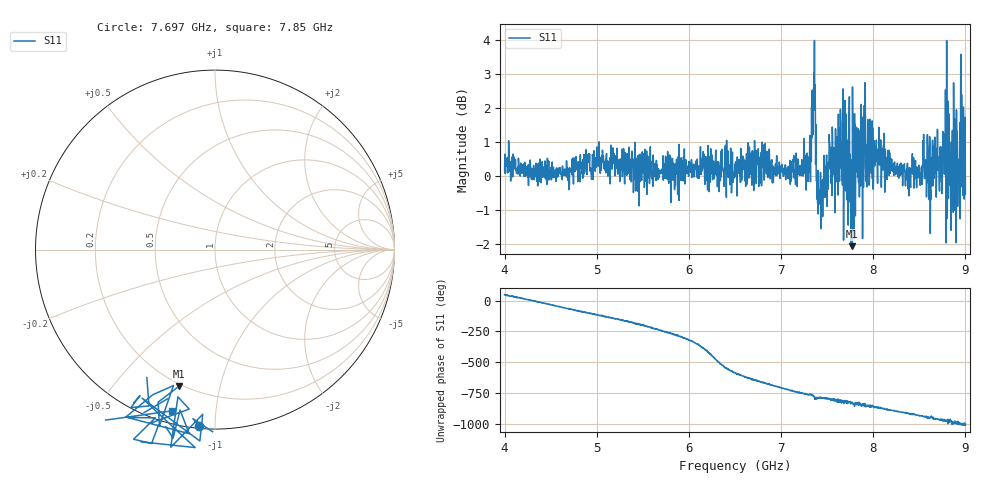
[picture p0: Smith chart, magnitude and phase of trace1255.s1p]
! Created with skrf 1.8.0 (http://scikit-rf.org).
# Hz S RI R 50.0
!freq ReS11 ImS11
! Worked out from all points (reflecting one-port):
!   1601 points, 4 GHz to 9 GHz, reference 50 ohm
!   lowest |S11| = -2.1 dB at 7.772 GHz (marker M1), VSWR 8.41, Z = 9.4 - j37.7 ohm
!   phase of S11 starts at 49 deg and turns -1053 deg over the sweep
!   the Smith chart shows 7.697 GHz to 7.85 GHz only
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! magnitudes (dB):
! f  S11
! 4 GHz  0.2
! 4.625 GHz  -0.1
! 5.25 GHz  -0.2
! 5.875 GHz  0.4
! 6.5 GHz  0.0
! 7.125 GHz  0.3
! 7.294 GHz  -0.2
! 7.347 GHz  1.2
! 7.375 GHz  0.3
! 7.4 GHz  0.2
! 7.428 GHz  0.1
! 7.538 GHz  0.6
! 7.591 GHz  1.4
! 7.647 GHz  1.7
! 7.75 GHz  -0.8
! 7.772 GHz  -2.1
! 7.822 GHz  0.2
! 7.875 GHz  0.2
! 7.928 GHz  0.5
! 7.981 GHz  0.1
! 8.375 GHz  -0.2
! 8.566 GHz  0.5
! 8.641 GHz  0.8
! 8.775 GHz  0.6
! 8.856 GHz  0.4
! 8.919 GHz  -0.3
! 8.959 GHz  2.4
! 9 GHz  -0.5
